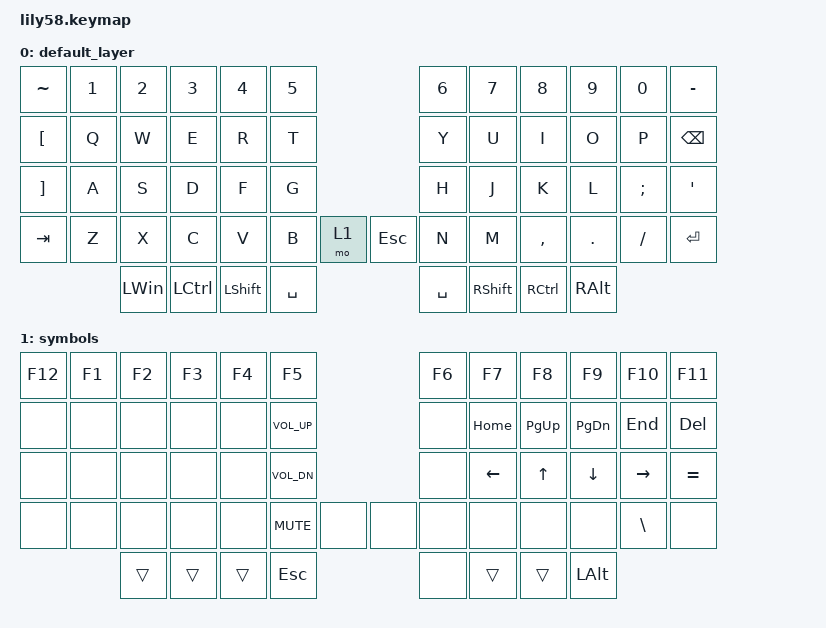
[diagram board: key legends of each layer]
// Copyright (c) 2022 The ZMK Contributors
// SPDX-License-Identifier: MIT

#include <behaviors.dtsi>
#include <dt-bindings/zmk/keys.h>

/ {
	keymap {
		compatible = "zmk,keymap";
		default_layer {
			bindings = <
				&kp TILDE  &kp N1  &kp N2  &kp N3  &kp N4  &kp N5                             &kp N6  &kp N7  &kp N8     &kp N9   &kp N0    &kp MINUS
				&kp LBKT   &kp Q   &kp W   &kp E   &kp R   &kp T                              &kp Y   &kp U   &kp I      &kp O    &kp P     &kp BSPC
				&kp RBKT   &kp A   &kp S   &kp D   &kp F   &kp G                              &kp H   &kp J   &kp K      &kp L    &kp SEMI  &kp SQT
				&kp TAB    &kp Z   &kp X   &kp C   &kp V   &kp B      &mo 1        &kp ESC    &kp N   &kp M   &kp COMMA  &kp DOT  &kp FSLH  &kp ENTER
				                      &kp LWIN  &kp LCTRL  &kp LSHFT  &kp SPACE    &kp SPACE  &kp RSHFT  &kp RCTRL  &kp RALT
 			>;
		};
		symbols {
			bindings = <
				&kp F12  &kp F1  &kp F2  &kp F3  &kp F4  &kp F5                          &kp F6  &kp F7    &kp F8     &kp F9     &kp F10    &kp F11
				&none    &none   &none   &none   &none   &kp C_VOL_UP                    &none   &kp HOME  &kp PG_UP  &kp PG_DN  &kp END    &kp DEL
				&none    &none   &none   &none   &none   &kp C_VOL_DN                    &none   &kp LEFT  &kp UP     &kp DOWN   &kp RIGHT  &kp EQUAL
				&none    &none   &none   &none   &none   &kp C_MUTE    &none      &none  &none   &none     &none      &none      &kp BSLH   &none
				                               &trans  &trans  &trans  &kp ESC    &none  &trans  &trans  &kp LALT
 			>;
		};
	};
};

